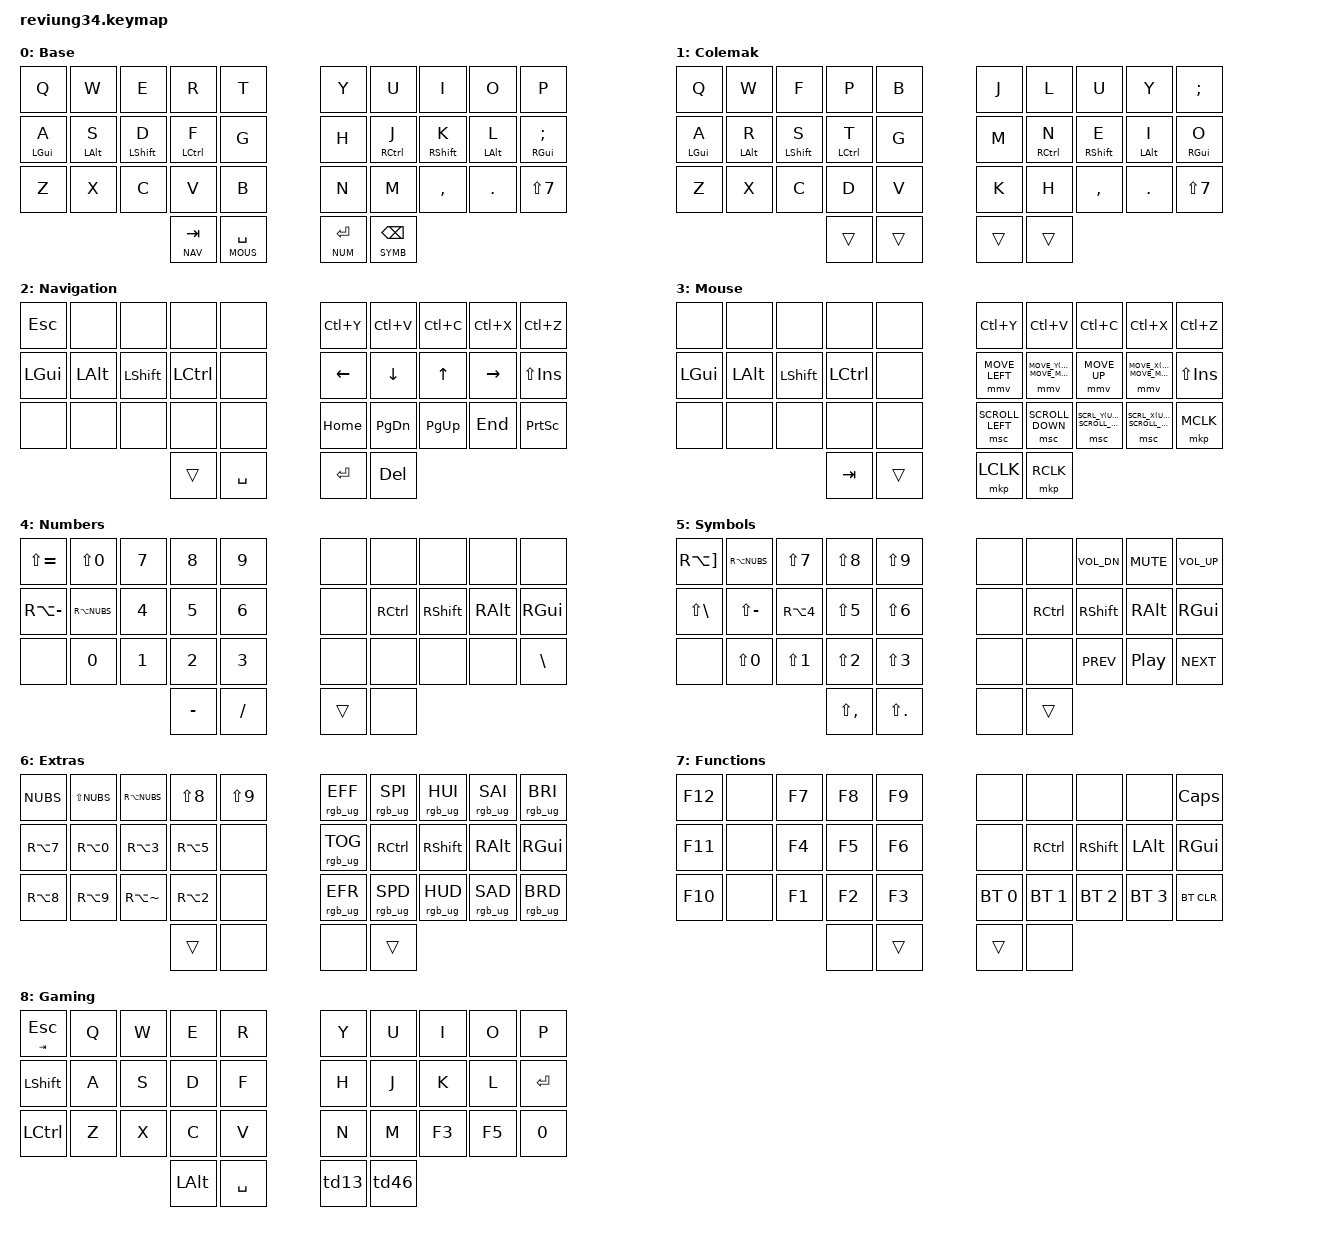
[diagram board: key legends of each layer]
#include <behaviors.dtsi>
#include <dt-bindings/zmk/bt.h>
#include <dt-bindings/zmk/keys.h>
#include <dt-bindings/zmk/rgb.h>
#include <dt-bindings/zmk/mouse.h>

// Layer shortcuts
#define BASE 0
#define CLMK 1
#define NAV  2
#define MOUS 3
#define NUM  4
#define SYMB 5
#define EXTR 6
#define FUNC 7
#define GAME 8

// Mouse keys
#define U_MOUSE_MOVE_MAX 1300
#define U_MOUSE_SCROLL_MAX 100

#undef MOVE_UP
#undef MOVE_DOWN
#undef MOVE_LEFT
#undef MOVE_RIGHT
#undef SCROLL_UP
#undef SCROLL_DOWN
#undef SCROLL_LEFT
#undef SCROLL_RIGHT

#define MOVE_UP MOVE_Y(-U_MOUSE_MOVE_MAX)
#define MOVE_DOWN MOVE_Y(U_MOUSE_MOVE_MAX)
#define MOVE_LEFT MOVE_X(-U_MOUSE_MOVE_MAX)
#define MOVE_RIGHT MOVE_X(U_MOUSE_MOVE_MAX)
#define SCROLL_UP SCRL_Y(U_MOUSE_SCROLL_MAX)
#define SCROLL_DOWN SCRL_Y(-U_MOUSE_SCROLL_MAX)
#define SCROLL_LEFT SCRL_X(-U_MOUSE_SCROLL_MAX)
#define SCROLL_RIGHT SCRL_X(U_MOUSE_SCROLL_MAX)

// Misc binds
#define PAUSE PAUSE_BREAK
#define BT_0 BT_SEL 0
#define BT_1 BT_SEL 1
#define BT_2 BT_SEL 2
#define BT_3 BT_SEL 3

// Mouse speeds
&mmv {
  time-to-max-speed-ms = <200>;
  acceleration-exponent = <1>;
  delay-ms = <0>;
};

&msc {
  time-to-max-speed-ms = <600>;
  acceleration-exponent = <1>;
  delay-ms = <0>;
};

// Layer tap
&lt {
  tapping-term-ms = <150>;
  quick-tap-ms = <150>;
  flavor = "tap-preferred";
};

/ {
    chosen {
        zmk,matrix_transform = &dual_1u_transform;
        // zmk,matrix_transform = &single_2u_transform;
    };

    combos {
      compatible = "zmk,combos";
      combo_ae {
          timeout-ms = <50>;
          key-positions = <28 29>;
          bindings = <&kp SQT>;
          layers = <0 1>;
      };
      combo_oe {
          timeout-ms = <50>;
          key-positions = <27 28>;
          bindings = <&kp SEMI>;
          layers = <0 1>;
     };
      combo_ao {
          timeout-ms = <50>;
          key-positions = <26 27>;
          bindings = <&kp LBKT>;
          layers = <0 1>;
      };
      combo_hard {
          timeout-ms = <50>;
          key-positions = <25 26>;
          bindings = <&kp RBKT>;
          layers = <0 1>;
      };
      combo_game_layer {
          timeout-ms = <50>;
          key-positions = <20 29>;
          bindings = <&tog GAME>;
          layers = <0 8>;
      };
      combo_colemak_layer {
          timeout-ms = <50>;
          key-positions = <7 8 9>;
          bindings = <&tog CLMK>;
          layers = <0 1>;
      };
      combo_extras_layer {
          timeout-ms = <50>;
          key-positions = <30 33>;
          bindings = <&mo EXTR>;
          layers = <0 1>;
      };
      combo_functions_layer {
          timeout-ms = <50>;
          key-positions = <31 32>;
          bindings = <&mo FUNC>;
          layers = <0 1>;
      };
    };

    behaviours {
     td13: num_dance_0 {
        compatible = "zmk,behavior-tap-dance";
        label = "TAP_DANCE_NUM_1_3";
        #binding-cells = <0>;
        tapping-term-ms = <200>;
        bindings = <&kp N1>, <&kp N2>, <&kp N3>;
      };
     td46: num_dance_1 {
        compatible = "zmk,behavior-tap-dance";
        label = "TAP_DANCE_NUM_4_6";
        #binding-cells = <0>;
        tapping-term-ms = <200>;
        bindings = <&kp N4>, <&kp N5>, <&kp N6>;
      };
     td79: num_dance_2 {
        compatible = "zmk,behavior-tap-dance";
        label = "TAP_DANCE_NUM_7_9";
        #binding-cells = <0>;
        tapping-term-ms = <200>;
        bindings = <&kp N7>, <&kp N8>, <&kp N9>;
      };
      hm: homerow_mods {
        compatible = "zmk,behavior-hold-tap";
        label = "HOMEROW_MODS";
        #binding-cells = <2>;
        tapping-term-ms = <210>;
        quick-tap-ms = <210>;
        flavor = "tap-preferred";
        bindings = <&kp>, <&kp>;
      };
     shm: shift_homerow_mods {
        compatible = "zmk,behavior-hold-tap";
        label = "SHIFT_HOMEROW_MODS";
        #binding-cells = <2>;
        tapping-term-ms = <200>;
        quick-tap-ms = <200>;
        flavor = "tap-preferred";
        bindings = <&kp>, <&kp>;
      };
    };

    keymap {
        compatible = "zmk,keymap";

        base {
            display-name = "Base";
            bindings = <
&kp Q      &kp W       &kp E        &kp R       &kp T          &kp Y         &kp U         &kp I        &kp O      &kp P
&hm LGUI A &hm LALT S  &shm LSHFT D &hm LCTRL F &kp G          &kp H         &hm RCTRL J   &shm RSHFT K &hm LALT L &hm RGUI SEMI
&kp Z      &kp X       &kp C        &kp V       &kp B          &kp N         &kp M         &kp COMMA    &kp DOT    &kp LS(N7)
                                    &lt NAV TAB &lt MOUS SPACE &lt NUM ENTER &lt SYMB BSPC
            >;
        };

        colemak {
            display-name = "Colemak";
            bindings = <
&kp Q      &kp W       &kp F        &kp P       &kp B          &kp J         &kp L         &kp U        &kp Y      &kp SEMI
&hm LGUI A &hm LALT R  &shm LSHFT S &hm LCTRL T &kp G          &kp M         &hm RCTRL N   &shm RSHFT E &hm LALT I &hm RGUI O
&kp Z      &kp X       &kp C        &kp D       &kp V          &kp K         &kp H         &kp COMMA    &kp DOT    &kp LS(N7)
                                    &trans &trans &trans &trans
            >;
        };

        navigation {
            display-name = "Navigation";
            bindings = <
&kp ESC     &none    &none     &none     &none     &kp LC(Y) &kp LC(V) &kp LC(C) &kp LC(X) &kp LC(Z)
&kp LGUI    &kp LALT &kp LSHFT &kp LCTRL &none     &kp LEFT  &kp DOWN  &kp UP    &kp RIGHT &kp LS(INSERT)
&none       &none    &none     &none     &none     &kp HOME  &kp PG_DN &kp PG_UP &kp END   &kp PSCRN
                     &trans    &kp SPC   &kp ENTER &kp DEL
            >;
        };

        mouse {
            display-name = "Mouse";
            bindings = <
&none    &none    &none     &none     &none   &kp LC(Y)        &kp LC(V)        &kp LC(C)       &kp LC(X)         &kp LC(Z)
&kp LGUI &kp LALT &kp LSHFT &kp LCTRL &none   &mmv MOVE_LEFT   &mmv MOVE_DOWN   &mmv MOVE_UP    &mmv MOVE_RIGHT   &kp LS(INSERT)
&none    &none    &none     &none     &none   &msc SCROLL_LEFT &msc SCROLL_DOWN &msc SCROLL_UP  &msc SCROLL_RIGHT &mkp MCLK
                            &kp TAB   &trans  &mkp LCLK        &mkp RCLK
            >;
        };

        numbers {
            display-name = "Numbers";
            bindings = <
&kp LS(EQUAL) &kp LS(N0)   &kp N7 &kp N8    &kp N9    &none  &none     &none     &none    &none
&kp RA(MINUS) &kp RA(NUBS) &kp N4 &kp N5    &kp N6    &none  &kp RCTRL &kp RSHFT &kp RALT &kp RGUI
&none         &kp N0       &kp N1 &kp N2    &kp N3    &none  &none     &none     &none    &kp BSLH
                                  &kp MINUS &kp SLASH &trans &none
            >;
        };

        symbols {
            display-name = "Symbols";
            bindings = <
&kp RA(RBKT) &kp RA(NUBS)  &kp LS(N7) &kp LS(N8)    &kp LS(N9)  &none  &none     &kp C_VOL_DN &kp C_MUTE &kp C_VOL_UP
&kp LS(BSLH) &kp LS(MINUS) &kp RA(N4) &kp LS(N5)    &kp LS(N6)  &none  &kp RCTRL &kp RSHFT    &kp RALT   &kp RGUI
&none        &kp LS(N0)    &kp LS(N1) &kp LS(N2)    &kp LS(N3)  &none  &none     &kp C_PREV   &kp C_PP   &kp C_NEXT
                                      &kp LS(COMMA) &kp LS(DOT) &none  &trans
            >;
        };

        extras {
            display-name = "Extras";
            bindings = <
&kp NUBS   &kp LS(NUBS) &kp RA(NUBS)  &kp LS(N8) &kp LS(N9) &rgb_ug RGB_EFF &rgb_ug RGB_SPI &rgb_ug RGB_HUI &rgb_ug RGB_SAI &rgb_ug RGB_BRI 
&kp RA(N7) &kp RA(N0)   &kp RA(N3)    &kp RA(N5) &none      &rgb_ug RGB_TOG &kp RCTRL       &kp RSHFT       &kp RALT        &kp RGUI
&kp RA(N8) &kp RA(N9)   &kp RA(TILDE) &kp RA(N2) &none      &rgb_ug RGB_EFR &rgb_ug RGB_SPD &rgb_ug RGB_HUD &rgb_ug RGB_SAD &rgb_ug RGB_BRD
                                      &trans &none &none &trans
            >;
        };

        functions {
            display-name = "Functions";
            bindings = <
&kp F12 &none &kp F7 &kp F8 &kp F9 &none    &none     &none     &none    &kp CAPS
&kp F11 &none &kp F4 &kp F5 &kp F6 &none    &kp RCTRL &kp RSHFT &kp LALT &kp RGUI
&kp F10 &none &kp F1 &kp F2 &kp F3 &bt BT_0 &bt BT_1  &bt BT_2  &bt BT_3 &bt BT_CLR
                     &none  &trans &trans   &none
            >;
        };

        gaming {
            display-name = "Gaming";
            bindings = <
&mt TAB ESC &kp Q    &kp W    &kp E     &kp R  &kp Y  &kp U  &kp I     &kp O &kp P
&kp LSHFT   &kp A    &kp S    &kp D     &kp F  &kp H  &kp J  &kp K     &kp L &kp ENTER
&kp LCTRL   &kp Z    &kp X    &kp C     &kp V  &kp N  &kp M  &kp F3    &kp F5 &kp N0
                     &kp LALT &kp SPACE &td13  &td46  
            >;
        };

    };
};
